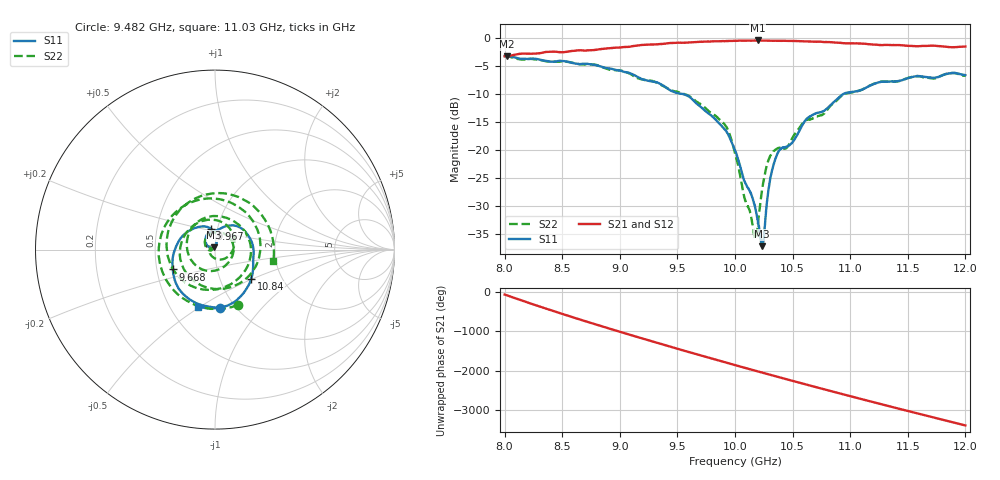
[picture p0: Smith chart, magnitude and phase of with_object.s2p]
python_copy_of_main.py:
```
import numpy as np
import pandas as pd
from scipy.fft import fft, ifft
import cmath
import matplotlib.pyplot as plt


data = pd.read_csv('with_object.s2p', sep=' ', header=None, skiprows=9, 
                names=['Frequency', 'ReS11', 'ImS11', 'ReS21', 'ImS21', 'ReS12', 'ImS12', 'ReS22', 'ImS22'])


data['s11']=data['ReS11']+1j*data['ImS11']
data['s21']=data['ReS21']+1j*data['ImS21']
data['s12']=data['ReS12']+1j*data['ImS12']
data['s22']=data['ReS22']+1j*data['ImS22']

data = data.drop(['ReS11', 'ImS11', 'ReS21', 'ImS21', 'ReS12', 'ImS12', 'ReS22', 'ImS22'], axis=1)


s_par = ['s11', 's21', 's12', 's22'] # Вести сюда названия S-параметров, которые нужны на графике в формате 'sij'


'''Дальше  не трогать'''
fig = plt.figure(figsize=(13,4))

ax_1 = fig.add_subplot(121)
for elem in s_par:
    ax_1.plot(data['Frequency']*1e-9, data[elem].apply(abs), label=elem)
ax_1.set_xlabel("Frequency, GHz")
ax_1.set_ylabel("Absolute value")
plt.legend()
plt.grid()

ax_2 = fig.add_subplot(122)
for elem in s_par:
    ax_2.plot(data['Frequency']*1e-9, np.degrees(data[elem].apply(cmath.phase)), label=elem)
ax_2.set_xlabel("Frequency, GHz")
ax_2.set_ylabel("Phase, deg")
plt.legend()
plt.grid()

fig.suptitle('Not processed data')
#plt.tight_layout()
plt.show()
```
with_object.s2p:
!Agilent Technologies,E8362C,MY49020356,A.09.42.23
!Agilent E8362C: A.09.42.23
!Date: Monday, May 29, 2023 19:57:41
!Correction: S11(Full 2 Port(1,2))
!S21(Full 2 Port(1,2))
!S12(Full 2 Port(1,2))
!S22(Full 2 Port(1,2))
!S2P File: Measurements: S11, S21, S12, S22:
# Hz S  RI  R 50
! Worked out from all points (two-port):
!   1601 points, 8 GHz to 12 GHz, reference 50 ohm
!   highest |S21| = -0.41 dB at 10.2 GHz (marker M1); lowest = -3.2 dB at 8.018 GHz (marker M2)
!   |S21| within 3 dB of the highest: start of sweep to end of sweep
!   lowest |S11| = -37.2 dB at 10.23 GHz (marker M3), VSWR 1.03, Z = 49.6 + j1.3 ohm
!   |S11| at or under -10 dB: 9.548 GHz to 10.94 GHz (1.391 GHz wide, 13.6 % of centre)
!   |S22| runs from -35.8 to -3.2 dB; largest |S21 - S12| = 0.0051
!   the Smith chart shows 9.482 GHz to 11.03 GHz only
!   S11 on the Smith chart (normalised r, x): 9.482 GHz: 0.85, -0.62; 9.668 GHz: 0.61, -0.14; 9.967 GHz: 0.93, +0.22; 10.84 GHz: 1.41, -0.49; 11.03 GHz: 0.69, -0.49
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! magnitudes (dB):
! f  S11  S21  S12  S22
! 8 GHz  -3.2  -3.2  -3.2  -3.2
! 8.018 GHz  -3.2  -3.2  -3.2  -3.2
! 9.482 GHz  -9.7  -0.8  -0.8  -9.5
! 9.668 GHz  -11.7  -0.7  -0.7  -11.4
! 9.967 GHz  -18.4  -0.5  -0.5  -18.1
! 10 GHz  -20.0  -0.5  -0.5  -20.5
! 10.2 GHz  -32.6  -0.4  -0.4  -33.5
! 10.23 GHz  -37.2  -0.4  -0.4  -27.5
! 10.84 GHz  -11.7  -0.7  -0.7  -11.8
! 11.03 GHz  -9.6  -0.9  -0.9  -9.6
! 12 GHz  -6.6  -1.5  -1.5  -6.7
